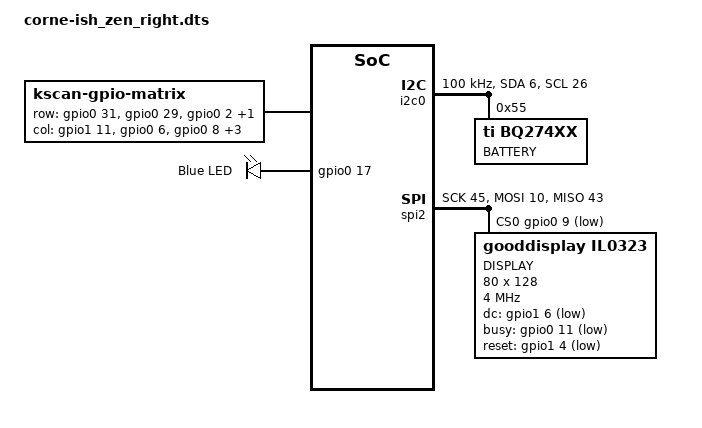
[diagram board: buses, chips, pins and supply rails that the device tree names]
/*
*
* Copyright (c) 2021 Darryl deHaan
* SPDX-License-Identifier: MIT
*
*/

#include "corne-ish_zen.dtsi"

/{

	

	kscan0: kscan {
		compatible = "zmk,kscan-gpio-matrix";
		label = "KSCAN";

		diode-direction = "col2row";
		row-gpios
			= <&gpio0 31 (GPIO_ACTIVE_HIGH | GPIO_PULL_DOWN)>
			, <&gpio0 29 (GPIO_ACTIVE_HIGH | GPIO_PULL_DOWN)>
			, <&gpio0 2 (GPIO_ACTIVE_HIGH | GPIO_PULL_DOWN)>
			, <&gpio1 15 (GPIO_ACTIVE_HIGH | GPIO_PULL_DOWN)>
			;

		col-gpios
			= <&gpio1 11 GPIO_ACTIVE_HIGH>
			, <&gpio0 6 GPIO_ACTIVE_HIGH>
			, <&gpio0 8 GPIO_ACTIVE_HIGH>
			, <&gpio0 20 GPIO_ACTIVE_HIGH>
			, <&gpio0 22 GPIO_ACTIVE_HIGH>
			, <&gpio0 24 GPIO_ACTIVE_HIGH>
			;
		
	};

	leds {
			compatible = "gpio-leds";
			blue_led: led_0 {
			gpios = <&gpio0 17 GPIO_ACTIVE_HIGH>;
				label = "Blue LED";
			};
		};

};

&default_transform {
		col-offset = <6>;
	};
&five_column_transform {
	col-offset = <6>;
};

&i2c0 {
	status = "ok";
	compatible = "nordic,nrf-twim";
	sda-pin = <6>;
	scl-pin = <26>;
	//clock-frequency = <I2C_BITRATE_FAST>; 
	clock-frequency = <100000>; 
	//gpios = <&gpio1 05 (GPIO_ACTIVE_HIGH | GPIO_PULL_DOWN)>;

	fuelgauge: bq274xx@55 {
		compatible = "ti,bq274xx";
		label = "BATTERY";
		reg = <0x55>;
		design-voltage = <3700>; //Battery Design Volatge in mV
		design-capacity = <180>; //Battery Design Capacity in mAh
		taper-current = <2>; //Battery Taper current in mAh 2.1
		terminate-voltage = <2750>; //Battery Terminate Voltage in mV
	};
};

&spi2 {
	status = "okay";
	compatible = "nordic,nrf-spim";
	sck-pin = <45>;
	mosi-pin = <10>;
	miso-pin = <43>;
	cs-gpios = <&gpio0 9 GPIO_ACTIVE_LOW>;

	epd: il0323@0 {
		compatible = "gooddisplay,il0323";
		reg =  <0>;
		label = "DISPLAY";
		width = <80>;
		height = <128>;
		spi-max-frequency = <4000000>;
		dc-gpios = <&gpio1 6 GPIO_ACTIVE_LOW>;
		busy-gpios = <&gpio0 11 GPIO_ACTIVE_LOW>;
		reset-gpios = <&gpio1 4 GPIO_ACTIVE_LOW>;
		pwr = [03 00 26 26];
		//softstart = [17 17 17 17];
		cdi = <0xd2>;
		tcon = <0x22>;
	};
};
